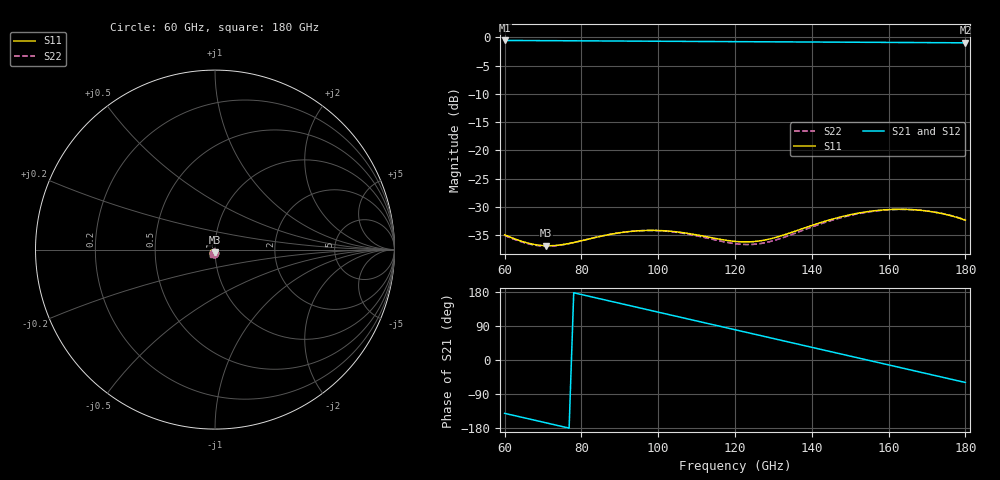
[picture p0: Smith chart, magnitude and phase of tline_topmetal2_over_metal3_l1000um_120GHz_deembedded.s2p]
! Created with skrf 2.2.0 (http://scikit-rf.org).
# GHz S DB R 50.0
! Port[1] = P1
! Port[2] = P2
!freq dBS11 angS11 dBS21 angS21 dBS12 angS12 dBS22 angS22
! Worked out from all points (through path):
!   101 points, 60 GHz to 180 GHz, reference 50 ohm
!   highest |S21| = -0.55 dB at 60 GHz (marker M1); lowest = -1.0 dB at 180 GHz (marker M2)
!   group delay of S21, straight-line fit = 6.45 ps
!   lowest |S11| = -36.8 dB at 70.8 GHz (marker M3), VSWR 1.03, Z = 49.9 - j1.43 ohm
!   |S11| at or under -10 dB: start of sweep to end of sweep
!   |S22| runs from -36.9 to -30.4 dB; largest |S21 - S12| = 1.6e-14
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60  -34.92 -104.2  -0.55 -140.7  -0.55 -140.7  -35.03 -104.0
66  -36.37 -99.9  -0.57 -154.7  -0.57 -154.7  -36.48 -99.4
70.8  -36.85 -93.3  -0.58 -165.8  -0.58 -165.8  -36.92 -92.6
75.6  -36.59 -87.2  -0.60 -177.0  -0.60 -177.0  -36.63 -86.5
80.4  -35.90 -84.1  -0.62 171.9  -0.62 171.9  -35.90 -83.5
85.2  -35.15 -84.1  -0.63 160.7  -0.63 160.7  -35.14 -83.8
90  -34.55 -86.4  -0.65 149.5  -0.65 149.5  -34.54 -86.4
94.8  -34.21 -90.0  -0.67 138.4  -0.67 138.4  -34.21 -90.2
100.8  -34.17 -94.8  -0.69 124.4  -0.69 124.4  -34.21 -95.3
105.6  -34.46 -97.9  -0.71 113.3  -0.71 113.3  -34.55 -98.7
110.4  -34.97 -99.5  -0.72 102.2  -0.72 102.2  -35.14 -100.4
115.2  -35.59 -98.4  -0.74 91.0  -0.74 91.0  -35.87 -99.4
120  -36.08 -94.4  -0.76 79.9  -0.76 79.9  -36.48 -94.9
124.8  -36.12 -88.0  -0.77 68.8  -0.77 68.8  -36.60 -87.6
129.6  -35.56 -81.7  -0.79 57.6  -0.79 57.6  -36.03 -80.2
140.4  -33.17 -77.4  -0.82 32.6  -0.82 32.6  -33.43 -74.7
146.4  -31.95 -80.5  -0.84 18.6  -0.84 18.6  -32.11 -77.8
151.2  -31.20 -84.8  -0.86 7.5  -0.86 7.5  -31.31 -82.2
156  -30.69 -90.1  -0.88 -3.7  -0.88 -3.7  -30.75 -87.6
160.8  -30.43 -95.9  -0.89 -14.8  -0.89 -14.8  -30.46 -93.6
170.4  -30.75 -107.7  -0.93 -37.1  -0.93 -37.1  -30.73 -105.7
180  -32.33 -116.6  -0.97 -59.3  -0.97 -59.3  -32.28 -115.0
